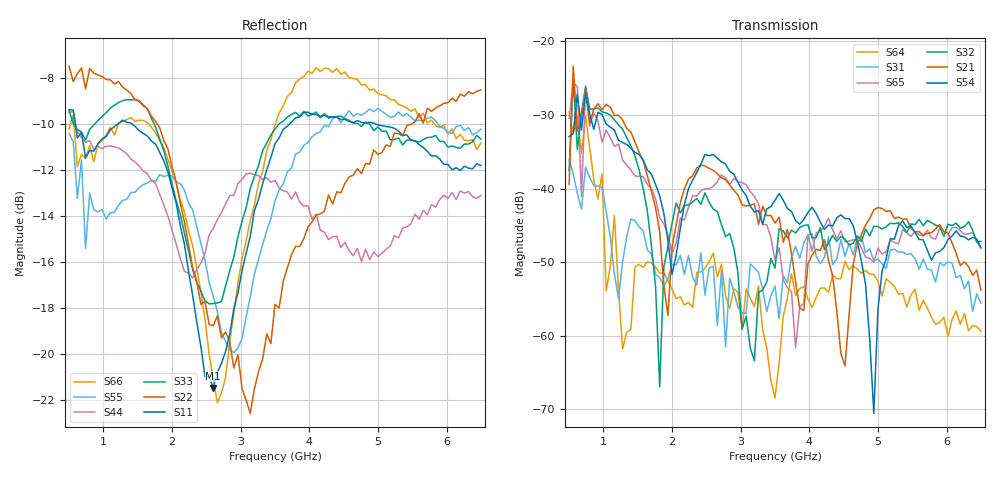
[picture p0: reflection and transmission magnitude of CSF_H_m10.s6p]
!Keysight Technologies,M9804A,MY58100912,A.14.10.03
!Date: Thursday, April 27, 2023 10:28:33
!Correction: S11(C  6-Port  )
!S12(C  6-Port  )
!S13(C  6-Port  )
!S14(C  6-Port  )
!S15(C  6-Port  )
!S16(C  6-Port  )
!S21(C  6-Port  )
!S22(C  6-Port  )
!S23(C  6-Port  )
!S24(C  6-Port  )
!S25(C  6-Port  )
!S26(C  6-Port  )
!S31(C  6-Port  )
!S32(C  6-Port  )
!S33(C  6-Port  )
!S34(C  6-Port  )
!S35(C  6-Port  )
!S36(C  6-Port  )
!S41(C  6-Port  )
!S42(C  6-Port  )
!S43(C  6-Port  )
!S44(C  6-Port  )
!S45(C  6-Port  )
!S46(C  6-Port  )
!S51(C  6-Port  )
!S52(C  6-Port  )
!S53(C  6-Port  )
!S54(C  6-Port  )
!S55(C  6-Port  )
!S56(C  6-Port  )
!S61(C  6-Port  )
!S62(C  6-Port  )
!S63(C  6-Port  )
!S64(C  6-Port  )
!S65(C  6-Port  )
!S66(C  6-Port  )
!S6P File: Measurement: :
# Hz S  RI  R 50
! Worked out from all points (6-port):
!   101 points, 500 MHz to 6.5 GHz, reference 50 ohm
!   strongest paths, dB at 500 MHz, 2 GHz, 3.5 GHz, 5 GHz, 6.5 GHz:
!     S54: -32.9, -51.7, -41.6, -56.5, -48.0
!     S21: -39.4, -47.9, -44.7, -42.6, -53.8
!     S32: -37.5, -44.7, -50.8, -45.2, -47.2
!     S65: -30.4, -48.8, -49.8, -48.1, -48.1
!     S31: -36.1, -50.3, -53.2, -49.6, -55.6
!     S64: -29.6, -53.7, -68.5, -52.6, -59.4
!   lowest |S11| = -21.5 dB at 2.6 GHz (marker M1), VSWR 1.18, Z = 42.5 + j2.12 ohm
!   |S11| at or under -10 dB: 590.5 MHz to 1.205 GHz (614.8 MHz wide, 68.5 % of centre); 1.421 GHz to 3.71 GHz (2.289 GHz wide, 89.2 % of centre); 4.975 GHz to end of sweep
